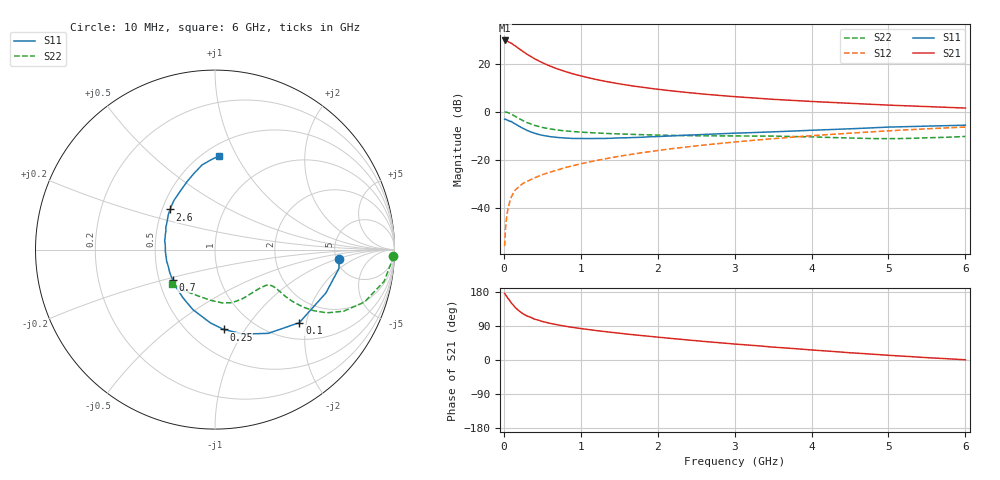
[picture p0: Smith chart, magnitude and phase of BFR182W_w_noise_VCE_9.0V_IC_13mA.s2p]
! (c) 2017  Infineon Technologies AG, Munich
! Infineon Technologies  Discrete & RF Semiconductors
! BFR182W
! VCE =  9.0 V,  IC =  13 mA
! Common Emitter S-Parameters:  Jan 2017
# GHz  S  MA  R  50
!  f  S11  S21  S12  S22
! GHz  MAG  ANG  MAG  ANG  MAG  ANG  MAG  ANG
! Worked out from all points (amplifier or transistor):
!   77 points, 10 MHz to 6 GHz, reference 50 ohm
!   highest |S21| = 29.6 dB at 10 MHz (marker M1)
!   |S21| within 3 dB of that: start of sweep to 179.4 MHz
!   unconditionally stable (mu >= 1): 1.017 GHz to 2.54 GHz
!   at 130 MHz: K = 0.32, MSG = 30.6 dB, |S12| = -33.5 dB
!   at 2.2 GHz: K = 1.02, MAG = 11.1 dB, |S12| = -15.3 dB
!   at 6 GHz: K = 0.86, MSG = 3.9 dB, |S12| = -6.4 dB
!   lowest NFmin = 1.17 dB at 450 MHz
!   S11 on the Smith chart (normalised r, x): 10 MHz: 5.31, -1.04; 100 MHz: 1.37, -1.82; 250 MHz: 0.72, -0.81; 700 MHz: 0.59, -0.22; 2.6 GHz: 0.55, +0.28; 6 GHz: 0.59, +0.85
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0.01  0.6932 -4.2  30.13 175.8  0.0016 84.4  0.9912 -2.0
0.02  0.6986 -8.6  30.06 173.0  0.0034 86.5  0.9839 -4.4
0.05  0.6636 -21.3  28.91 163.8  0.0089 79.0  0.9591 -10.6
0.1  0.6217 -40.9  26.23 149.7  0.0172 74.7  0.883 -19.3
0.15  0.5527 -57.6  23.09 138.2  0.0237 68.0  0.7947 -25.6
0.2  0.4961 -71.5  20.18 129.1  0.0279 65.5  0.7155 -29.5
0.25  0.4477 -83.8  17.72 121.8  0.0324 62.9  0.6484 -31.7
0.3  0.4087 -93.7  15.6 116.3  0.0352 61.8  0.5934 -33.0
0.4  0.3562 -110.3  12.54 107.8  0.0421 62.7  0.5182 -33.8
0.5  0.3223 -123.7  10.38 101.7  0.0488 63.4  0.4693 -33.6
0.6  0.3023 -135.0  8.857 96.8  0.0552 64.2  0.4369 -33.0
0.7  0.2901 -144.7  7.69 92.7  0.0614 65.4  0.4141 -32.6
0.9  0.2767 -160.0  6.087 85.9  0.0753 67.0  0.3853 -32.3
1.1  0.2753 -172.2  5.06 80.4  0.0894 67.8  0.3676 -32.8
1.3  0.2767 177.6  4.319 75.3  0.1032 67.7  0.3544 -33.9
1.5  0.2851 169.9  3.784 70.8  0.1182 67.5  0.3438 -35.9
2.1  0.3084 150.2  2.796 58.4  0.1632 65.7  0.3227 -44.8
2.6  0.3356 138.2  2.313 49.0  0.2019 63.1  0.3144 -54.7
3.1  0.361 127.7  1.997 40.6  0.2415 59.7  0.3117 -64.6
4.1  0.4155 110.8  1.598 25.1  0.3238 51.9  0.2954 -84.7
5.1  0.4814 97.5  1.346 11.2  0.4067 42.7  0.2751 -114.0
6  0.5226 87.5  1.187 0.6  0.4786 33.8  0.305 -141.2
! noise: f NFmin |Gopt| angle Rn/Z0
0.45  1.17  0.04  108  0.14
0.9  1.26  0.05  122  0.14
1.9  1.73  0.23  -151  0.14
2.4  2  0.22  -136  0.21
